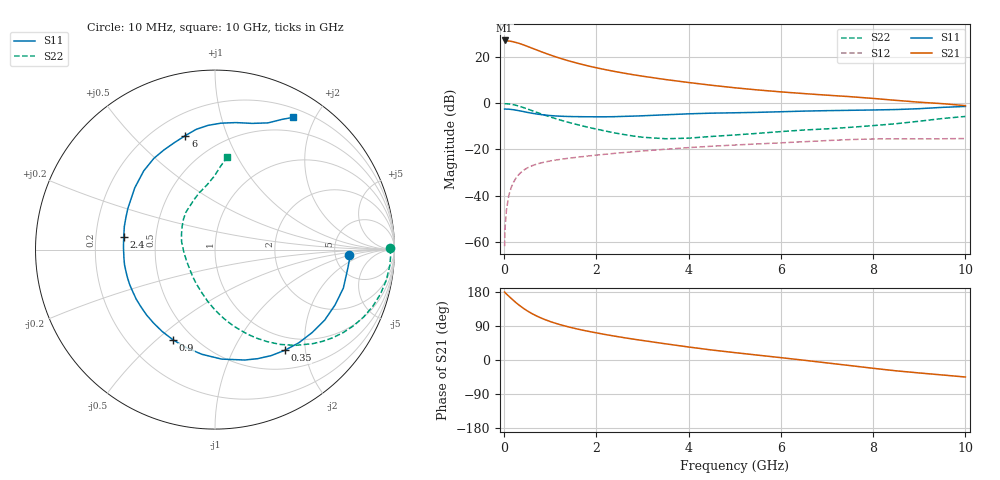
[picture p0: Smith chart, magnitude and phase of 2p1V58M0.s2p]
! (c) 2009  Infineon Technologies AG, Munich
! Infineon Technologies  Discrete & RF Semiconductors
! BFP420
! VCE =  1.5 V,  IC =  8.0 mA
! Common Emitter S-Parameters:  Nov 2009
# GHz  S  MA  R  50
!  f  S11  S21  S12  S22
! GHz  MAG  ANG  MAG  ANG  MAG  ANG  MAG  ANG
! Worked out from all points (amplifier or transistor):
!   46 points, 10 MHz to 10 GHz, reference 50 ohm
!   highest |S21| = 27.3 dB at 10 MHz (marker M1)
!   |S21| within 3 dB of that: start of sweep to 561.1 MHz
!   unconditionally stable (mu >= 1): 2.518 GHz to end of sweep
!   at 300 MHz: K = 0.15, MSG = 28.7 dB, |S12| = -31.3 dB
!   at 1.7 GHz: K = 0.76, MSG = 20.0 dB, |S12| = -23.1 dB
!   at 10 GHz: K = 1.09, MAG = 5.3 dB, |S12| = -15.3 dB
!   lowest NFmin = 0.79 dB at 900 MHz
!   S11 on the Smith chart (normalised r, x): 10 MHz: 6.87, -0.90; 350 MHz: 0.78, -1.63; 900 MHz: 0.39, -0.57; 2.4 GHz: 0.32, +0.06; 6 GHz: 0.32, +0.72; 10 GHz: 0.31, +1.71
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0.01  0.7497 -2.2  23.06 179.3  0.0008 96.7  0.9732 0.4
0.02  0.7527 -3.5  22.54 177.8  0.002 89.2  0.9791 -1.9
0.05  0.747 -8.2  22.55 174.1  0.0049 86.7  0.9783 -5.0
0.1  0.7466 -16.7  22.46 168.5  0.0099 81.8  0.9696 -10.1
0.2  0.7266 -32.7  21.57 157.4  0.0192 74.5  0.9335 -19.9
0.25  0.7117 -40.5  20.89 152.0  0.0234 70.9  0.9092 -24.4
0.35  0.6826 -55.3  19.53 142.4  0.0308 64.4  0.8509 -32.9
0.45  0.6524 -68.7  18 133.8  0.037 59.0  0.7882 -40.4
0.6  0.6111 -86.6  15.77 122.6  0.0442 52.6  0.6966 -50.0
0.8  0.5693 -106.4  13.19 110.8  0.0511 46.6  0.591 -60.3
0.9  0.5544 -114.9  12.11 105.9  0.0538 44.4  0.5464 -64.7
1.2  0.5273 -136.3  9.571 93.7  0.0606 40.0  0.4389 -76.2
1.4  0.5185 -147.8  8.329 87.2  0.0645 38.0  0.3857 -82.8
1.7  0.5121 -162.2  6.934 78.8  0.0699 35.9  0.3232 -92.0
2.4  0.5137 171.9  4.898 62.9  0.0823 32.0  0.2283 -114.2
3.5  0.564 142.5  3.278 42.7  0.101 25.7  0.1707 -158.7
4.5  0.612 123.8  2.461 26.4  0.1173 18.9  0.1914 166.5
5.5  0.6375 110.8  1.948 12.8  0.1318 12.3  0.2234 145.1
6  0.6566 104.5  1.771 6.2  0.1391 9.0  0.2438 136.1
7  0.6933 93.2  1.502 -7.7  0.1557 1.0  0.2795 120.2
8.5  0.733 73.6  1.158 -28.6  0.1689 -14.3  0.3616 97.3
10  0.8561 59.4  0.891 -44.9  0.1724 -24.3  0.5193 82.5
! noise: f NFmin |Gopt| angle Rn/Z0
0.9  0.79  0.08  30  0.13
1.8  1.14  0.06  171  0.12
2.4  1.24  0.1  160  0.13
3  1.32  0.17  -165  0.12
4  1.46  0.32  -132  0.14
5  1.85  0.39  -110  0.25
6  2.3  0.46  -95  0.37
